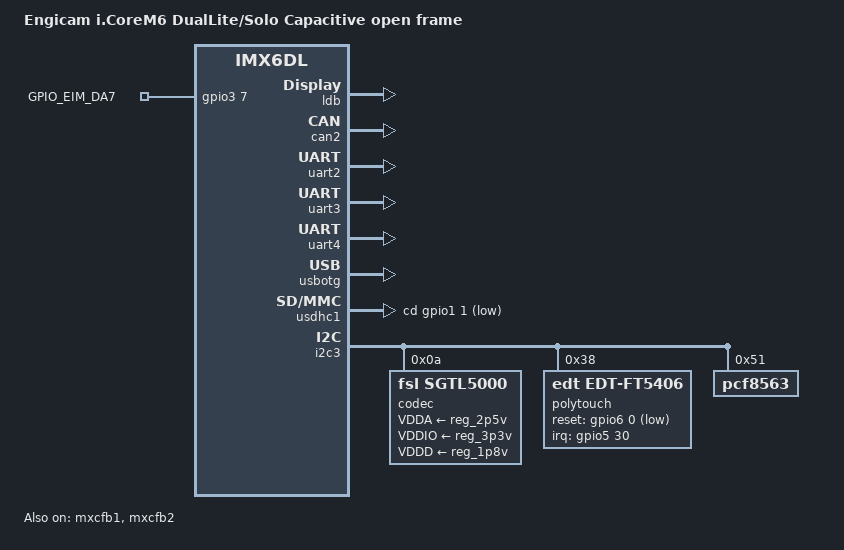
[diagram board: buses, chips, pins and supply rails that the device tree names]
/*
 * Copyright (C) 2013 Freescale Semiconductor, Inc.
 *
 * This program is free software; you can redistribute it and/or modify
 * it under the terms of the GNU General Public License version 2 as
 * published by the Free Software Foundation.
 */

/dts-v1/;

#include "imx6dl.dtsi"
#include "imx6qdl-icore.dtsi"

/ {
	model = "Engicam i.CoreM6 DualLite/Solo Capacitive open frame";
	compatible = "fsl,imx6-icore", "fsl,imx6dl";

	gpio_export {
		compatible = "gpio-export";
		#size-cells = <0>;
		
		GPIO_EIM_DA7 {
			gpio-export,name = "GPIO_EIM_DA7";
			gpio-export,input = <1>;
			gpios = <&gpio3 7 0>;
		};				
	};
};

&ldb {
	status = "okay";

	lvds-channel@0 {
		fsl,data-mapping = "spwg";
		fsl,data-width = <18>;
		status = "okay";
		crtc = "ipu1-di0";
		primary;

		display-timings {
                        native-mode = <&timing1>;
                        timing1: hsd100pxn1 {
                                clock-frequency = <33000000>;
                                hactive = <800>;
                                vactive = <480>;
                                hback-porch = <30>;
                                hfront-porch = <30>;
                                vback-porch = <5>;
                                vfront-porch = <5>;
                                hsync-len = <64>;
                                vsync-len = <20>;
                        };
                };
	};
};

&mxcfb1 {
	interface_pix_fmt = "RGB666";
	default_bpp = <16>;
	mode_str ="Amp-WD";
	status = "okay";
};

&mxcfb2 {
	status = "okay";
};

&can2 {
	status = "okay";
};

&uart2 {
	status = "okay";
};

&uart3 {
	status = "okay";
};

&uart4 {
	status = "okay";
};

&usbotg {
	status = "okay";
};

&usdhc1 {
	cd-gpios = <&gpio1 1 GPIO_ACTIVE_LOW>;
	status = "okay";
};

&i2c3 {
	codec: sgtl5000@0a {
		compatible = "fsl,sgtl5000";
		reg = <0x0a>;
		clocks = <&clks 201>;
		VDDA-supply = <&reg_2p5v>;
		VDDIO-supply = <&reg_3p3v>;
		VDDD-supply = <&reg_1p8v>;
	};

	polytouch: edt-ft5x06@38 {
		compatible = "edt,edt-ft5406";
		reg = <0x38>;
		pinctrl-names = "default";		
		pinctrl-0 = <&pinctrl_edt_ft5x06>;
		interrupt-parent = <&gpio5>;
		interrupts = <30 0>;	
		reset-gpios = <&gpio6 0 1>;
	};
	
	pcf8563: rtc@51 {
		compatible = "pcf8563";
		reg = <0x51>;
	};
};

&iomuxc {
	touchpanel{
		pinctrl_edt_ft5x06:  edt-ft5x06grp  {
			fsl,pins = <
				MX6QDL_PAD_CSI0_DAT12__GPIO5_IO30 0x1b0b0 /*interrupt*/ 
				MX6QDL_PAD_CSI0_DAT14__GPIO6_IO00 0x1b0b0 /*reset edt*/
			>;
		};
	};
};

&iomuxc {
	hog {
		pinctrl_hog: hoggrp {
			fsl,pins = <
				MX6QDL_PAD_EIM_DA7__GPIO3_IO07 0x1f059 /* EIM_DA07 forced to GPIO in */
				MX6QDL_PAD_GPIO_1__GPIO1_IO01  0x1f059 /*CD SD CARD*/
			>;
		};
	};
};
